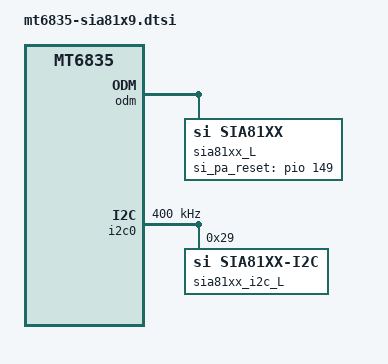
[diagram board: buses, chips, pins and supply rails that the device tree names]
/* Copyright (c) 2018, The Linux Foundation. All rights reserved.
 *
 * This program is free software; you can redistribute it and/or modify
 * it under the terms of the GNU General Public License version 2 and
 * only version 2 as published by the Free Software Foundation.
 *
 * This program is distributed in the hope that it will be useful,
 * but WITHOUT ANY WARRANTY; without even the implied warranty of
 * MERCHANTABILITY or FITNESS FOR A PARTICULAR PURPOSE.  See the
 * GNU General Public License for more details.
 */

&pio {
	sia81xx_gpio_L: sia81xx_gpio_L {
		pins_cmd_dat {
			pinmux = <PINMUX_GPIO149__FUNC_GPIO149>;
			
			slew-rate = <1>;
			bias-disable;
		};
	};
};

&odm {
	sia81xx_L: sia81xx@L {
		compatible = "si,sia81xx";
		si,si_pa_type = "sia81x9";
		si,si_pa_reset = <&pio 149 0>;
		pinctrl-names = "si_pa_gpio";
		pinctrl-0 = <&sia81xx_gpio_L>;
		si,si_pa_disable_pin = <0>;
		channel_num = <0>;
	};
};

&sound {
	si,sia81xx-max-num = <1>;
	si,sia81xx-aux-devs = <&sia81xx_L>;
	si,sia81xx-aux-devs-prefix = "SpkrLeft";
};

&i2c0 {
	#address-cells = <1>;
	#size-cells = <0>;
	clock-frequency = <400000>;
	mediatek,use-open-drain;
	
	sia81xx_i2c_L: sia81xx_i2c@L {
		compatible = "si,sia81xx-i2c";
		reg = <0x29>;
		si,sipa-dev = <&sia81xx_L>;
		status = "okay";
	};
};
